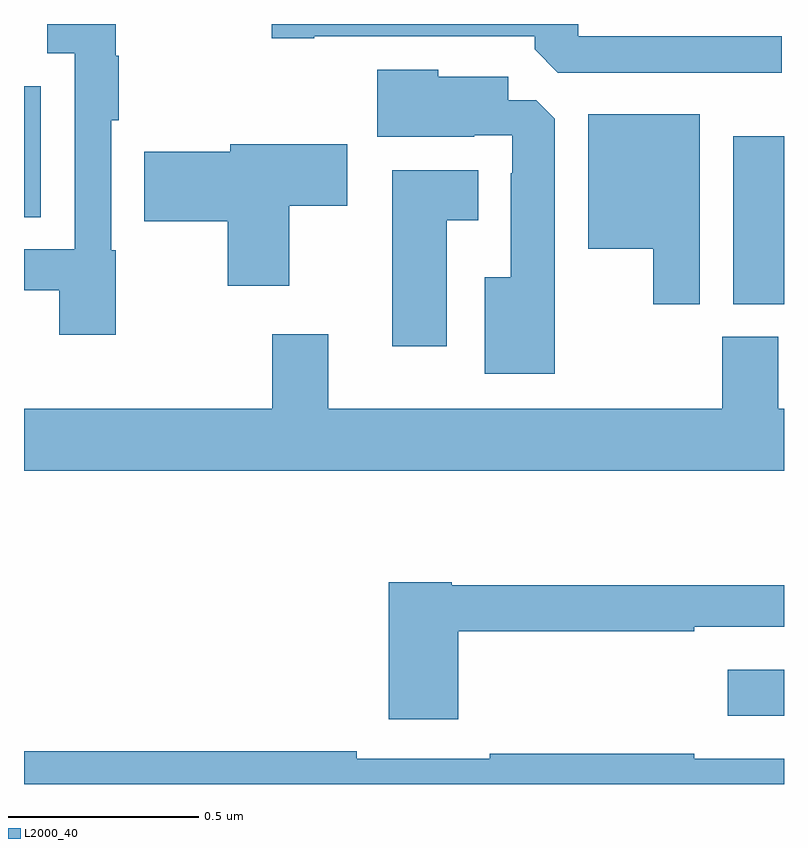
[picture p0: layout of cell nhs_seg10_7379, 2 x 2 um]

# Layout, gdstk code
import gdstk
lib = gdstk.Library(unit=1e-6, precision=1e-09)
def R(c, l, rs):  # rectangles x0, y0, x1, y1
    for r in rs: c.add(gdstk.rectangle(r[:2], r[2:], *l))
def P(c, l, *ps):  # polygons
    for p in ps: c.add(gdstk.Polygon(p, *l))
L2000_40 = (2000, 40)

nhs_seg10_7379 = lib.new_cell('nhs_seg10_7379')
R(nhs_seg10_7379, L2000_40, [(204.852,1291.679,205,1291.801), (204.866,1292.762,205,1293.205), (203,1292.992,203.044,1293.336)])
P(nhs_seg10_7379, L2000_40, [(204.994,1293.468),(204.459,1293.468),(204.459,1293.5),(203.652,1293.5),(203.652,1293.463),(203.764,1293.463),(203.764,1293.468),(204.344,1293.468),(204.344,1293.434),(204.405,1293.372),(204.994,1293.372)],
  [(203.242,1292.904),(203.229,1292.904),(203.229,1293.247),(203.249,1293.247),(203.249,1293.416),(203.242,1293.416),(203.242,1293.5),(203.061,1293.5),(203.061,1293.423),(203.133,1293.423),(203.133,1292.907),(203,1292.907),(203,1292.799),(203.093,1292.799),(203.093,1292.682),(203.242,1292.682)],
  [(204.397,1293.251),(204.348,1293.3),(204.274,1293.3),(204.274,1293.361),(204.09,1293.361),(204.09,1293.379),(203.93,1293.379),(203.93,1293.203),(204.185,1293.203),(204.185,1293.207),(204.285,1293.207),(204.285,1293.107),(204.281,1293.107),(204.281,1292.833),(204.212,1292.833),(204.212,1292.579),(204.397,1292.579)],
  [(204.778,1293.262),(204.485,1293.262),(204.485,1292.909),(204.656,1292.909),(204.656,1292.763),(204.778,1292.763)],
  [(203.698,1293.022),(203.851,1293.022),(203.851,1293.184),(203.543,1293.184),(203.543,1293.164),(203.316,1293.164),(203.316,1292.981),(203.536,1292.981),(203.536,1292.811),(203.698,1292.811)],
  [(204.112,1292.984),(204.196,1292.984),(204.196,1293.115),(203.969,1293.115),(203.969,1292.652),(204.112,1292.652)],
  [(205,1292.488),(204.985,1292.488),(204.985,1292.677),(204.838,1292.677),(204.838,1292.488),(203.8,1292.488),(203.8,1292.683),(203.653,1292.683),(203.653,1292.488),(203,1292.488),(203,1292.324),(205,1292.324)],
  [(204.143,1291.902),(204.764,1291.902),(204.764,1291.914),(205,1291.914),(205,1292.023),(204.126,1292.023),(204.126,1292.031),(203.96,1292.031),(203.96,1291.671),(204.143,1291.671)],
  [(205,1291.566),(204.764,1291.566),(204.764,1291.579),(204.226,1291.579),(204.226,1291.566),(203.876,1291.566),(203.876,1291.586),(203,1291.586),(203,1291.5),(205,1291.5)])

lib.write_gds('nhs_seg10_7379.gds')
